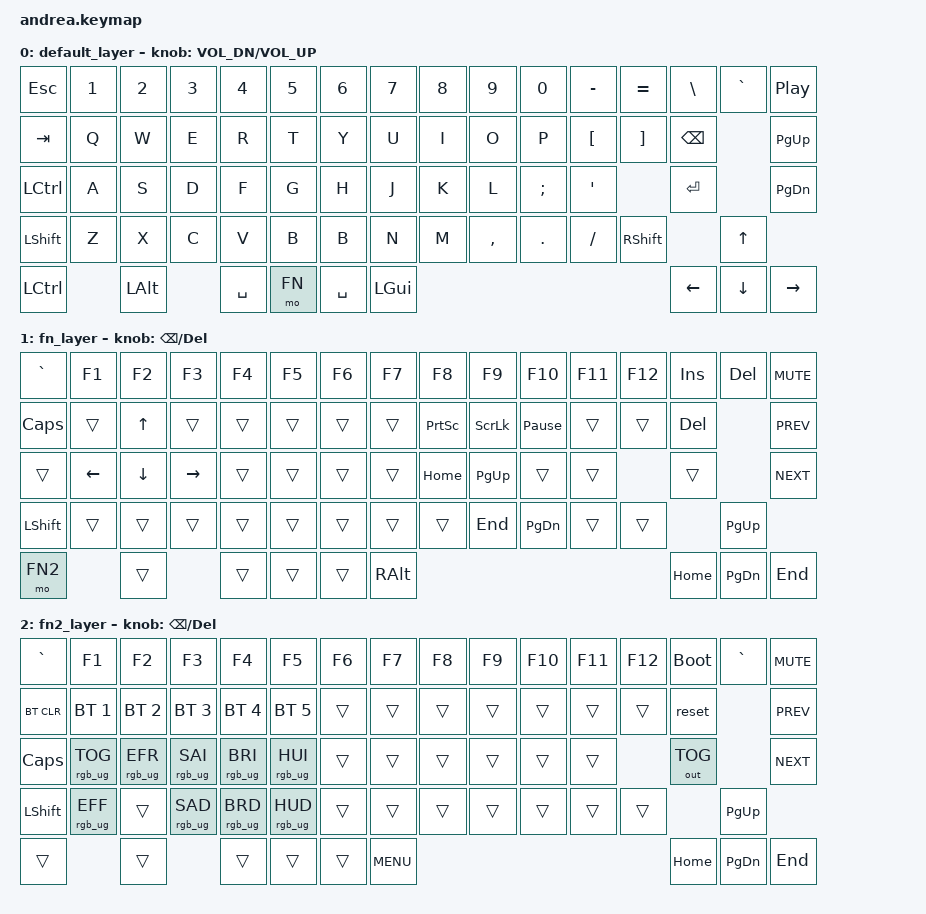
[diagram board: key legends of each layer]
#include <behaviors.dtsi>
#include <dt-bindings/zmk/keys.h>
#include <dt-bindings/zmk/bt.h>
#include <dt-bindings/zmk/outputs.h>
#include <dt-bindings/zmk/rgb.h>
#include <dt-bindings/zmk/ext_power.h>

#define FN  1
#define FN2 2


/ {
	keymap {
		compatible = "zmk,keymap";

		default_layer {
			bindings = <
    &kp ESC         &kp NUM_1        &kp NUM_2     &kp NUM_3     &kp NUM_4     &kp NUM_5        &kp NUM_6        &kp NUM_7        &kp NUM_8        &kp NUM_9        &kp NUM_0        &kp MINUS        &kp EQL          &kp BSLH         &kp GRAVE       &kp C_PP
    &kp TAB          &kp Q            &kp W         &kp E         &kp R         &kp T            &kp Y            &kp U            &kp I            &kp O            &kp P            &kp LBKT         &kp RBKT         &kp BKSP                         &kp PG_UP
    &kp LCTRL        &kp A            &kp S         &kp D         &kp F         &kp G            &kp H            &kp J            &kp K            &kp L            &kp SCLN         &kp QUOT                          &kp ENTER                        &kp PG_DN
    &kp LSHFT        &kp Z            &kp X         &kp C         &kp V         &kp B            &kp B            &kp N            &kp M            &kp CMMA         &kp DOT          &kp FSLH         &kp RSHFT                         &kp UP
    &kp LCTRL                         &kp LALT                    &kp SPACE     &mo FN           &kp SPACE        &kp LGUI                                                                                              &kp LEFT         &kp DOWN        &kp RIGHT
			>;
			
			sensor-bindings = <&inc_dec_kp C_VOL_DN C_VOL_UP>; 
			
		};

                fn_layer {
			bindings = <
    &kp GRAVE        &kp F1           &kp F2           &kp F3          &kp F4          &kp F5            &kp F6           &kp F7           &kp F8           &kp F9           &kp F10          &kp F11          &kp F12          &kp INS          &kp DEL        &kp C_MUTE
    &kp CAPS         &trans           &kp UP           &trans          &trans          &trans            &trans           &trans           &kp PSCRN        &kp SLCK         &kp PAUSE_BREAK  &trans           &trans           &kp DEL                         &kp C_PREV
    &trans           &kp LEFT         &kp DOWN         &kp RIGHT       &trans          &trans            &trans           &trans           &kp HOME         &kp PG_UP        &trans           &trans                            &trans                          &kp C_NEXT
    &kp LSHFT        &trans           &trans           &trans          &trans          &trans            &trans           &trans           &trans           &kp END          &kp PG_DN        &trans           &trans                            &kp PG_UP
    &mo FN2                           &trans                           &trans          &trans            &trans           &kp RALT                                                                                              &kp HOME         &kp PG_DN      &kp END        
			>;

			sensor-bindings = <&inc_dec_kp BKSP   DEL>;

		};

		fn2_layer {
			bindings = <
    &kp GRAVE        &kp F1           &kp F2           &kp F3          &kp F4          &kp F5            &kp F6           &kp F7           &kp F8           &kp F9           &kp F10          &kp F11          &kp F12          &bootloader      &kp GRAVE      &kp C_MUTE
    &bt BT_CLR       &bt BT_SEL 1     &bt BT_SEL 2     &bt BT_SEL 3    &bt BT_SEL 4    &bt BT_SEL 5      &trans           &trans           &trans           &trans           &trans           &trans           &trans           &reset                          &kp C_PREV
    &kp CAPS         &rgb_ug RGB_TOG  &rgb_ug RGB_EFR  &rgb_ug RGB_SAI &rgb_ug RGB_BRI &rgb_ug RGB_HUI   &trans           &trans           &trans           &trans           &trans           &trans                            &out OUT_TOG                    &kp C_NEXT
    &kp LSHFT        &rgb_ug RGB_EFF  &trans           &rgb_ug RGB_SAD &rgb_ug RGB_BRD &rgb_ug RGB_HUD   &trans           &trans           &trans           &trans           &trans           &trans           &trans                            &kp PG_UP
    &trans                            &trans                           &trans          &trans            &trans           &kp C_MENU                                                                                            &kp HOME         &kp PG_DN      &kp END        
			>;

			sensor-bindings = <&inc_dec_kp BKSP   DEL>;

		};

	};
};
